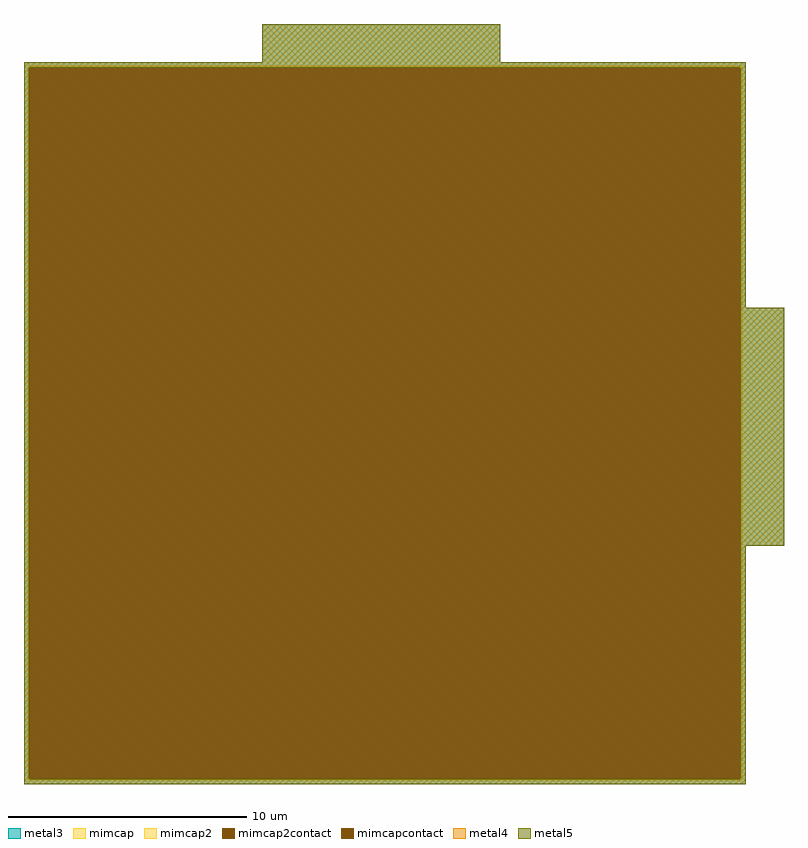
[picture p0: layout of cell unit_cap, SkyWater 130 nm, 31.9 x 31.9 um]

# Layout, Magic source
magic
tech sky130A
<< metal3 >>
rect 1000 3030 2000 3190
rect 0 2000 3030 3030
rect 0 1000 3190 2000
rect 0 0 3030 1000
<< mimcap >>
rect 15 3007 3015 3015
rect 15 23 23 3007
rect 3007 23 3015 3007
rect 15 15 3015 23
<< mimcapcontact >>
rect 23 23 3007 3007
<< metal4 >>
rect 1000 3030 2000 3190
rect 0 3007 3030 3030
rect 0 23 23 3007
rect 3007 2000 3030 3007
rect 3007 1000 3190 2000
rect 3007 23 3030 1000
rect 0 0 3030 23
<< mimcap2 >>
rect 15 3007 3015 3015
rect 15 23 23 3007
rect 3007 23 3015 3007
rect 15 15 3015 23
<< mimcap2contact >>
rect 23 23 3007 3007
<< metal5 >>
rect 1000 3030 2000 3190
rect 0 3007 3030 3030
rect 0 23 23 3007
rect 3007 2000 3030 3007
rect 3007 1000 3190 2000
rect 3007 23 3030 1000
rect 0 0 3030 23
<< end >>
